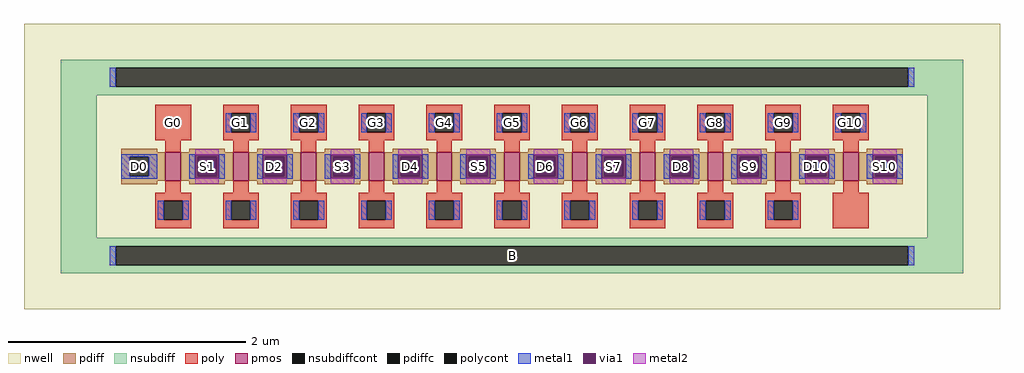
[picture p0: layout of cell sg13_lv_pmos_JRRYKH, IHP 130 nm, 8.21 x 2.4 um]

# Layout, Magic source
magic
tech ihp-sg13cmos5l
magscale 1 2
<< nwell >>
rect -821 -240 821 240
<< pmos >>
rect -583 -24 -557 24
rect -469 -24 -443 24
rect -355 -24 -329 24
rect -241 -24 -215 24
rect -127 -24 -101 24
rect -13 -24 13 24
rect 101 -24 127 24
rect 215 -24 241 24
rect 329 -24 355 24
rect 443 -24 469 24
rect 557 -24 583 24
<< pdiff >>
rect -657 24 -597 30
rect -543 24 -483 30
rect -429 24 -369 30
rect -315 24 -255 30
rect -201 24 -141 30
rect -87 24 -27 30
rect 27 24 87 30
rect 141 24 201 30
rect 255 24 315 30
rect 369 24 429 30
rect 483 24 543 30
rect 597 24 657 30
rect -657 16 -583 24
rect -657 -16 -643 16
rect -611 -16 -583 16
rect -657 -24 -583 -16
rect -557 16 -469 24
rect -557 -16 -529 16
rect -497 -16 -469 16
rect -557 -24 -469 -16
rect -443 16 -355 24
rect -443 -16 -415 16
rect -383 -16 -355 16
rect -443 -24 -355 -16
rect -329 16 -241 24
rect -329 -16 -301 16
rect -269 -16 -241 16
rect -329 -24 -241 -16
rect -215 16 -127 24
rect -215 -16 -187 16
rect -155 -16 -127 16
rect -215 -24 -127 -16
rect -101 16 -13 24
rect -101 -16 -73 16
rect -41 -16 -13 16
rect -101 -24 -13 -16
rect 13 16 101 24
rect 13 -16 41 16
rect 73 -16 101 16
rect 13 -24 101 -16
rect 127 16 215 24
rect 127 -16 155 16
rect 187 -16 215 16
rect 127 -24 215 -16
rect 241 16 329 24
rect 241 -16 269 16
rect 301 -16 329 16
rect 241 -24 329 -16
rect 355 16 443 24
rect 355 -16 383 16
rect 415 -16 443 16
rect 355 -24 443 -16
rect 469 16 557 24
rect 469 -16 497 16
rect 529 -16 557 16
rect 469 -24 557 -16
rect 583 16 657 24
rect 583 -16 611 16
rect 643 -16 657 16
rect 583 -24 657 -16
rect -657 -30 -597 -24
rect -543 -30 -483 -24
rect -429 -30 -369 -24
rect -315 -30 -255 -24
rect -201 -30 -141 -24
rect -87 -30 -27 -24
rect 27 -30 87 -24
rect 141 -30 201 -24
rect 255 -30 315 -24
rect 369 -30 429 -24
rect 483 -30 543 -24
rect 597 -30 657 -24
<< pdiffc >>
rect -643 -16 -611 16
rect -529 -16 -497 16
rect -415 -16 -383 16
rect -301 -16 -269 16
rect -187 -16 -155 16
rect -73 -16 -41 16
rect 41 -16 73 16
rect 155 -16 187 16
rect 269 -16 301 16
rect 383 -16 415 16
rect 497 -16 529 16
rect 611 -16 643 16
<< nsubdiff >>
rect -759 166 759 180
rect -759 134 -667 166
rect 667 134 759 166
rect -759 120 759 134
rect -759 -120 -699 120
rect 699 -120 759 120
rect -759 -134 759 -120
rect -759 -166 -667 -134
rect 667 -166 759 -134
rect -759 -180 759 -166
<< nsubdiffcont >>
rect -667 134 667 166
rect -667 -166 667 -134
<< poly >>
rect -600 44 -540 104
rect -486 90 -426 104
rect -486 58 -472 90
rect -440 58 -426 90
rect -486 44 -426 58
rect -372 90 -312 104
rect -372 58 -358 90
rect -326 58 -312 90
rect -372 44 -312 58
rect -258 90 -198 104
rect -258 58 -244 90
rect -212 58 -198 90
rect -258 44 -198 58
rect -144 90 -84 104
rect -144 58 -130 90
rect -98 58 -84 90
rect -144 44 -84 58
rect -30 90 30 104
rect -30 58 -16 90
rect 16 58 30 90
rect -30 44 30 58
rect 84 90 144 104
rect 84 58 98 90
rect 130 58 144 90
rect 84 44 144 58
rect 198 90 258 104
rect 198 58 212 90
rect 244 58 258 90
rect 198 44 258 58
rect 312 90 372 104
rect 312 58 326 90
rect 358 58 372 90
rect 312 44 372 58
rect 426 90 486 104
rect 426 58 440 90
rect 472 58 486 90
rect 426 44 486 58
rect 540 90 600 104
rect 540 58 554 90
rect 586 58 600 90
rect 540 44 600 58
rect -583 24 -557 44
rect -469 24 -443 44
rect -355 24 -329 44
rect -241 24 -215 44
rect -127 24 -101 44
rect -13 24 13 44
rect 101 24 127 44
rect 215 24 241 44
rect 329 24 355 44
rect 443 24 469 44
rect 557 24 583 44
rect -583 -44 -557 -24
rect -469 -44 -443 -24
rect -355 -44 -329 -24
rect -241 -44 -215 -24
rect -127 -44 -101 -24
rect -13 -44 13 -24
rect 101 -44 127 -24
rect 215 -44 241 -24
rect 329 -44 355 -24
rect 443 -44 469 -24
rect 557 -44 583 -24
rect -600 -58 -540 -44
rect -600 -90 -586 -58
rect -554 -90 -540 -58
rect -600 -104 -540 -90
rect -486 -58 -426 -44
rect -486 -90 -472 -58
rect -440 -90 -426 -58
rect -486 -104 -426 -90
rect -372 -58 -312 -44
rect -372 -90 -358 -58
rect -326 -90 -312 -58
rect -372 -104 -312 -90
rect -258 -58 -198 -44
rect -258 -90 -244 -58
rect -212 -90 -198 -58
rect -258 -104 -198 -90
rect -144 -58 -84 -44
rect -144 -90 -130 -58
rect -98 -90 -84 -58
rect -144 -104 -84 -90
rect -30 -58 30 -44
rect -30 -90 -16 -58
rect 16 -90 30 -58
rect -30 -104 30 -90
rect 84 -58 144 -44
rect 84 -90 98 -58
rect 130 -90 144 -58
rect 84 -104 144 -90
rect 198 -58 258 -44
rect 198 -90 212 -58
rect 244 -90 258 -58
rect 198 -104 258 -90
rect 312 -58 372 -44
rect 312 -90 326 -58
rect 358 -90 372 -58
rect 312 -104 372 -90
rect 426 -58 486 -44
rect 426 -90 440 -58
rect 472 -90 486 -58
rect 426 -104 486 -90
rect 540 -104 600 -44
<< polycont >>
rect -472 58 -440 90
rect -358 58 -326 90
rect -244 58 -212 90
rect -130 58 -98 90
rect -16 58 16 90
rect 98 58 130 90
rect 212 58 244 90
rect 326 58 358 90
rect 440 58 472 90
rect 554 58 586 90
rect -586 -90 -554 -58
rect -472 -90 -440 -58
rect -358 -90 -326 -58
rect -244 -90 -212 -58
rect -130 -90 -98 -58
rect -16 -90 16 -58
rect 98 -90 130 -58
rect 212 -90 244 -58
rect 326 -90 358 -58
rect 440 -90 472 -58
<< metal1 >>
rect -677 134 -667 166
rect 667 134 677 166
rect -482 58 -472 90
rect -440 58 -430 90
rect -368 58 -358 90
rect -326 58 -316 90
rect -254 58 -244 90
rect -212 58 -202 90
rect -140 58 -130 90
rect -98 58 -88 90
rect -26 58 -16 90
rect 16 58 26 90
rect 88 58 98 90
rect 130 58 140 90
rect 202 58 212 90
rect 244 58 254 90
rect 316 58 326 90
rect 358 58 368 90
rect 430 58 440 90
rect 472 58 482 90
rect 544 58 554 90
rect 586 58 596 90
rect -657 16 -597 21
rect -657 -16 -643 16
rect -611 -16 -597 16
rect -657 -21 -597 -16
rect -543 20 -483 21
rect -543 -20 -533 20
rect -493 -20 -483 20
rect -543 -21 -483 -20
rect -429 20 -369 21
rect -429 -20 -419 20
rect -379 -20 -369 20
rect -429 -21 -369 -20
rect -315 20 -255 21
rect -315 -20 -305 20
rect -265 -20 -255 20
rect -315 -21 -255 -20
rect -201 20 -141 21
rect -201 -20 -191 20
rect -151 -20 -141 20
rect -201 -21 -141 -20
rect -87 20 -27 21
rect -87 -20 -77 20
rect -37 -20 -27 20
rect -87 -21 -27 -20
rect 27 20 87 21
rect 27 -20 37 20
rect 77 -20 87 20
rect 27 -21 87 -20
rect 141 20 201 21
rect 141 -20 151 20
rect 191 -20 201 20
rect 141 -21 201 -20
rect 255 20 315 21
rect 255 -20 265 20
rect 305 -20 315 20
rect 255 -21 315 -20
rect 369 20 429 21
rect 369 -20 379 20
rect 419 -20 429 20
rect 369 -21 429 -20
rect 483 20 543 21
rect 483 -20 493 20
rect 533 -20 543 20
rect 483 -21 543 -20
rect 597 20 657 21
rect 597 -20 607 20
rect 647 -20 657 20
rect 597 -21 657 -20
rect -596 -90 -586 -58
rect -554 -90 -544 -58
rect -482 -90 -472 -58
rect -440 -90 -430 -58
rect -368 -90 -358 -58
rect -326 -90 -316 -58
rect -254 -90 -244 -58
rect -212 -90 -202 -58
rect -140 -90 -130 -58
rect -98 -90 -88 -58
rect -26 -90 -16 -58
rect 16 -90 26 -58
rect 88 -90 98 -58
rect 130 -90 140 -58
rect 202 -90 212 -58
rect 244 -90 254 -58
rect 316 -90 326 -58
rect 358 -90 368 -58
rect 430 -90 440 -58
rect 472 -90 482 -58
rect -677 -166 -667 -134
rect 667 -166 677 -134
<< via1 >>
rect -533 16 -493 20
rect -533 -16 -529 16
rect -529 -16 -497 16
rect -497 -16 -493 16
rect -533 -20 -493 -16
rect -419 16 -379 20
rect -419 -16 -415 16
rect -415 -16 -383 16
rect -383 -16 -379 16
rect -419 -20 -379 -16
rect -305 16 -265 20
rect -305 -16 -301 16
rect -301 -16 -269 16
rect -269 -16 -265 16
rect -305 -20 -265 -16
rect -191 16 -151 20
rect -191 -16 -187 16
rect -187 -16 -155 16
rect -155 -16 -151 16
rect -191 -20 -151 -16
rect -77 16 -37 20
rect -77 -16 -73 16
rect -73 -16 -41 16
rect -41 -16 -37 16
rect -77 -20 -37 -16
rect 37 16 77 20
rect 37 -16 41 16
rect 41 -16 73 16
rect 73 -16 77 16
rect 37 -20 77 -16
rect 151 16 191 20
rect 151 -16 155 16
rect 155 -16 187 16
rect 187 -16 191 16
rect 151 -20 191 -16
rect 265 16 305 20
rect 265 -16 269 16
rect 269 -16 301 16
rect 301 -16 305 16
rect 265 -20 305 -16
rect 379 16 419 20
rect 379 -16 383 16
rect 383 -16 415 16
rect 415 -16 419 16
rect 379 -20 419 -16
rect 493 16 533 20
rect 493 -16 497 16
rect 497 -16 529 16
rect 529 -16 533 16
rect 493 -20 533 -16
rect 607 16 647 20
rect 607 -16 611 16
rect 611 -16 643 16
rect 643 -16 647 16
rect 607 -20 647 -16
<< metal2 >>
rect -533 20 -493 29
rect -533 -29 -493 -20
rect -419 20 -379 29
rect -419 -29 -379 -20
rect -305 20 -265 29
rect -305 -29 -265 -20
rect -191 20 -151 29
rect -191 -29 -151 -20
rect -77 20 -37 29
rect -77 -29 -37 -20
rect 37 20 77 29
rect 37 -29 77 -20
rect 151 20 191 29
rect 151 -29 191 -20
rect 265 20 305 29
rect 265 -29 305 -20
rect 379 20 419 29
rect 379 -29 419 -20
rect 493 20 533 29
rect 493 -29 533 -20
rect 607 20 647 29
rect 607 -29 647 -20
<< labels >>
rlabel pdiffc -627 0 -627 0 0 D0
port 2 nsew
rlabel poly -570 74 -570 74 0 G0
port 3 nsew
rlabel pdiffc -513 0 -513 0 0 S1
port 4 nsew
rlabel polycont -456 74 -456 74 0 G1
port 5 nsew
rlabel pdiffc -399 0 -399 0 0 D2
port 6 nsew
rlabel polycont -342 74 -342 74 0 G2
port 7 nsew
rlabel pdiffc -285 0 -285 0 0 S3
port 8 nsew
rlabel polycont -228 74 -228 74 0 G3
port 9 nsew
rlabel pdiffc -171 0 -171 0 0 D4
port 10 nsew
rlabel polycont -114 74 -114 74 0 G4
port 11 nsew
rlabel pdiffc -57 0 -57 0 0 S5
port 12 nsew
rlabel polycont 0 74 0 74 0 G5
port 13 nsew
rlabel pdiffc 57 0 57 0 0 D6
port 14 nsew
rlabel polycont 114 74 114 74 0 G6
port 15 nsew
rlabel pdiffc 171 0 171 0 0 S7
port 16 nsew
rlabel polycont 228 74 228 74 0 G7
port 17 nsew
rlabel pdiffc 285 0 285 0 0 D8
port 18 nsew
rlabel polycont 342 74 342 74 0 G8
port 19 nsew
rlabel pdiffc 399 0 399 0 0 S9
port 20 nsew
rlabel polycont 456 74 456 74 0 G9
port 21 nsew
rlabel pdiffc 513 0 513 0 0 D10
port 22 nsew
rlabel pdiffc 627 0 627 0 0 S10
port 23 nsew
rlabel polycont 570 74 570 74 0 G10
port 24 nsew
rlabel nsubdiffcont 0 -150 0 -150 0 B
port 1 nsew
<< properties >>
string FIXED_BBOX -729 -148 729 148
string gencell sg13_lv_pmos
string library sg13cmos5l
string parameters w 0.24 l 0.13 m 1 ng 11 diffcov 85 polycov 100 guard 1 glc 0 grc 0 gtc 1 gbc 1 tbcov 100 rlcov 100 topc 1 botc 1 poverlap 0 doverlap 1 lmin 0.13 wmin 0.15 class mosfet compatible {sg13_lv_pmos sg13_hv_pmos} full_metal 0 conn_gates 0 gate_ring 0 ccols 1 viasrc 100 viadrn 100 viagate 0 viagb 0 viagr 0 viagl 0 viagt 0 doports 1
<< end >>
